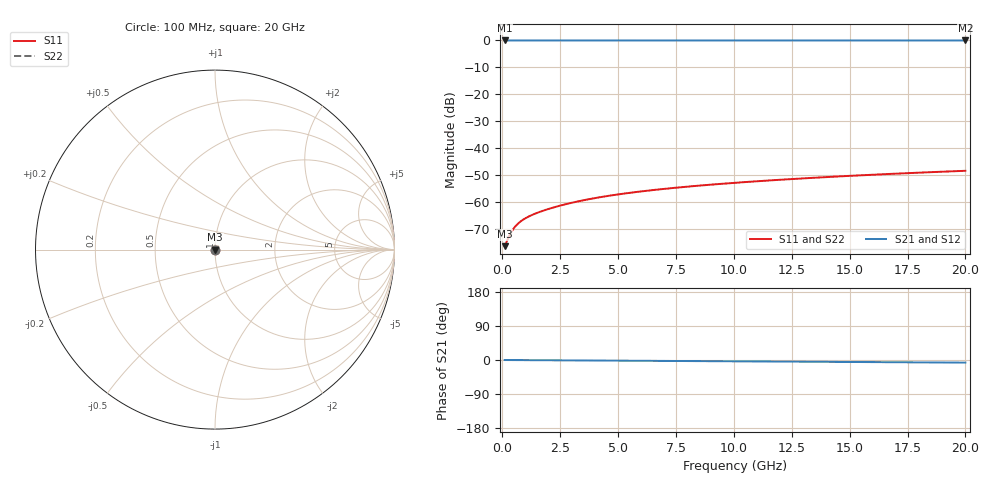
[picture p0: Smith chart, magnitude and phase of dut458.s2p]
! Touchstone file exported from HFSS 2026.1.0
!  File:  C:/ffzhzh/LocalFiles/Ansys_Project_Files/temp_train_TSV_458_1783021896_55676.aedt
!  Generated:  03:53:16 AM Jul  3, 2026
!  Design:  TSV
!  Project:  temp_train_TSV_458_1783021896_55676
! Variables:
!  h_bsmrdl = 2um
!  h_ox = 20um
!  h_rdl = 5um
!  h_sub = 69.4um
!  h_tmrdl = 5um
!  h_tsv = 69.4um
!  h_via = 3um
!  l_bsmrdl = 300um
!  l_sub = 417.64um
!  l_tmrdl = 200um
!  m_sub = 200um
!  pitch = 36.78um
!  r_tsv = 8.82um
!  s_tmrdl = 10um
!  w_bsmrdl = 18um
!  w_sub = 500um
!  w_tmrdl = 12um
!  x_tsv_center1 = 206um
!  x_tsv_center2 = 524um
!  x_tsv_center3 = 736um
!  x_tsv_center4 = 1054um
!  x_tsv_center5 = 1266um
!  x_tsv_center6 = 1584um
# GHz S MA R 50.000000
! Terminal data exported
! Port[1] = TSV1_1_T1
! Port[2] = TSV1_1_T2
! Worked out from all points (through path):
!   200 points, 100 MHz to 20 GHz, reference 50 ohm
!   highest |S21| = 0.00 dB at 100 MHz (marker M1); lowest = 0.0 dB at 20 GHz (marker M2)
!   lowest |S11| = -76.4 dB at 100 MHz (marker M3), VSWR 1.00, Z = 50 + j0.00587 ohm
!   |S11| at or under -10 dB: start of sweep to end of sweep
!   |S22| runs from -76.4 to -48.4 dB; largest |S21 - S12| = 3.1e-15
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0.1  0.0001521 22.7  0.9999 -0.0  0.9999 -0.0  0.0001521 22.7
! Gamma 0 0 0 0
! Port Impedance 50 0 50 0
0.3  0.0002367 44.4  0.9998 -0.1  0.9998 -0.1  0.0002367 44.4
0.4  0.0002839 48.0  0.9998 -0.1  0.9998 -0.1  0.0002839 48.0
0.5  0.0003284 49.8  0.9998 -0.2  0.9998 -0.2  0.0003284 49.8
0.6  0.0003694 50.7  0.9998 -0.2  0.9998 -0.2  0.0003694 50.7
0.7  0.0004067 51.2  0.9997 -0.3  0.9997 -0.3  0.0004067 51.2
0.8  0.0004408 51.5  0.9997 -0.3  0.9997 -0.3  0.0004408 51.5
1  0.0005016 52.1  0.9997 -0.4  0.9997 -0.4  0.0005016 52.1
1.2  0.0005557 52.7  0.9997 -0.4  0.9997 -0.4  0.0005557 52.7
1.4  0.000606 53.5  0.9996 -0.5  0.9996 -0.5  0.000606 53.5
2  0.0007471 55.8  0.9996 -0.7  0.9996 -0.7  0.0007471 55.8
2.7  0.0009055 57.9  0.9995 -1.0  0.9995 -1.0  0.0009055 57.9
3.5  0.001081 59.5  0.9995 -1.2  0.9995 -1.2  0.001081 59.5
4.2  0.001228 60.4  0.9994 -1.5  0.9994 -1.5  0.001228 60.4
5  0.001389 61.0  0.9994 -1.8  0.9994 -1.8  0.001389 61.0
5.9  0.001561 61.6  0.9993 -2.1  0.9993 -2.1  0.001561 61.6
6.8  0.001726 62.0  0.9993 -2.4  0.9993 -2.4  0.001726 62.0
8.3  0.001988 62.5  0.9992 -2.9  0.9992 -2.9  0.001988 62.5
10.1  0.00229 63.1  0.9991 -3.5  0.9991 -3.5  0.00229 63.1
13.4  0.00282 63.6  0.999 -4.7  0.999 -4.7  0.00282 63.6
16.7  0.003328 63.6  0.9988 -5.8  0.9988 -5.8  0.003328 63.6
20  0.00381 63.3  0.9987 -6.9  0.9987 -6.9  0.00381 63.3
